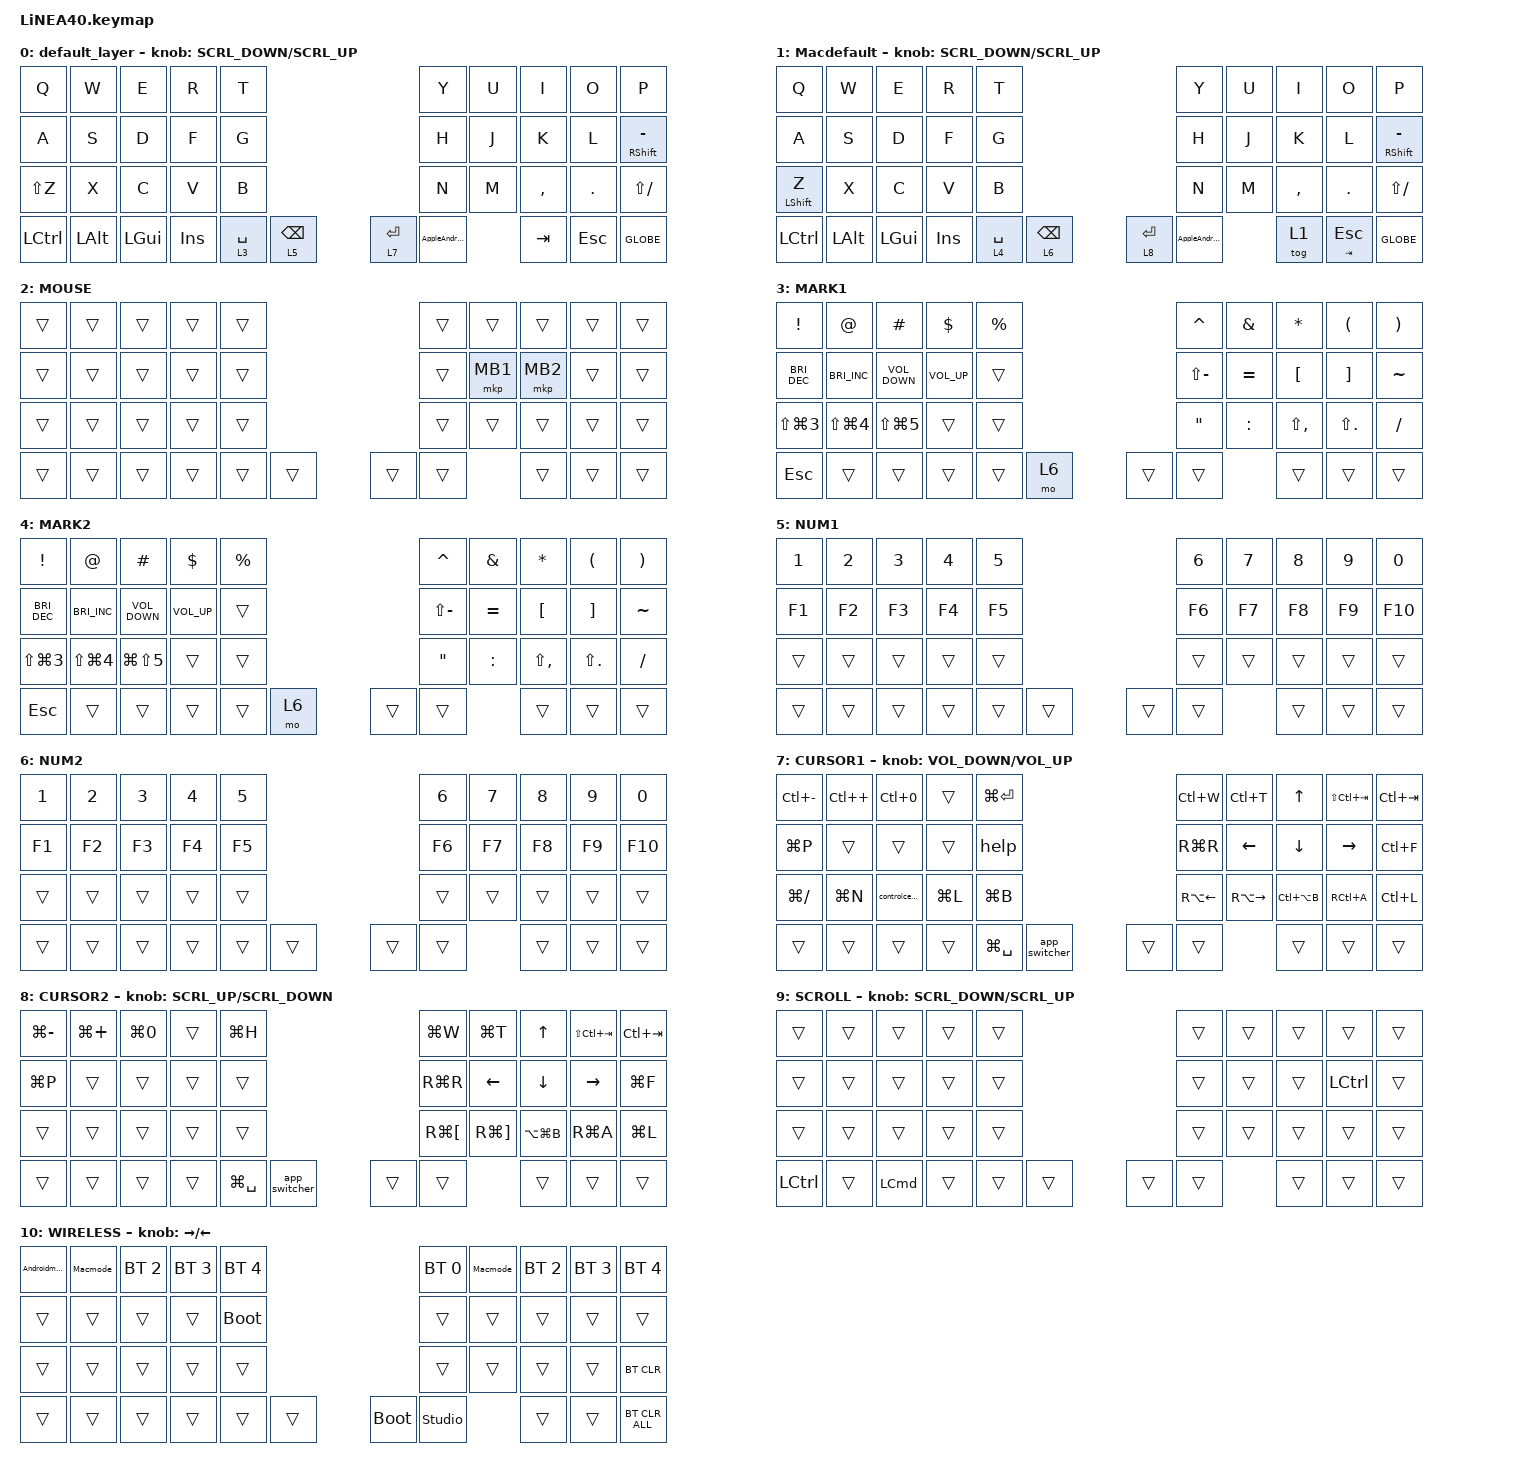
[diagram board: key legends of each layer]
#define ZMK_POINTING_DEFAULT_SCRL_VAL 150

#include <dt-bindings/zmk/input_transform.h>
#include <input/processors.dtsi>
#include <zephyr/dt-bindings/input/input-event-codes.h>
#include <input/processors/runtime-input-processor.dtsi>
#include <behaviors.dtsi>
#include <dt-bindings/zmk/bt.h>
#include <dt-bindings/zmk/keys.h>
#include <dt-bindings/zmk/pointing.h>

#define MOUSE 1
#define MARK 2
#define CURSOR 3
#define FUNCTION 4
#define SCROLL 5
#define WIRELESS 6

&mmv {
    delay-ms = <20>;
    trigger-period-ms = <5>;
    time-to-max-speed-ms = <100>;
    acceleration-exponent = <2>;
};

&msc {
    delay-ms = <3>;
    trigger-period-ms = <3>;
    time-to-max-speed-ms = <100>;
    acceleration-exponent = <0>;
};

/ {
    input_processors {
        zip_wheel_scaler: zip_wheel_scaler {
            compatible = "zmk,input-processor-scaler";
            #input-processor-cells = <2>;
            type = <INPUT_EV_REL>;
            codes = <INPUT_REL_WHEEL>;
            track-remainders;
        };
    };
};

/ {
    combos {
        compatible = "zmk,combos";

        Bt {
            bindings = <&mo 10>;
            key-positions = <34 35>;
            timeout-ms = <50>;
            require-prior-idle-ms = <150>;
        };

        scroll {
            bindings = <&mo 9>;
            key-positions = <16 17>;
            timeout-ms = <50>;
            require-prior-idle-ms = <150>;
        };
    };

    behaviors {
        re_kp: sensor_rotate_kp {
            compatible = "zmk,behavior-sensor-rotate-var";
            #sensor-binding-cells = <2>;
            bindings = <&kp>, <&kp>;
        };

        mouse_scrl: mouse_wheel_scrl {
            compatible = "zmk,behavior-sensor-rotate-var";
            #sensor-binding-cells = <2>;
            bindings = <&msc>, <&msc>;

            tap-ms = <20>;
        };
    };

    macros {
        AppleAndroidImg: AppleImg {
            compatible = "zmk,behavior-macro";
            #binding-cells = <0>;
            bindings =
                <&macro_press>,
                <&kp LEFT_CONTROL>,
                <&macro_tap>,
                <&kp SPACE>,
                <&macro_release>,
                <&kp LEFT_CONTROL>;

            label = "APPLEIMG";
        };

        Macmode: new_macro {
            compatible = "zmk,behavior-macro";
            #binding-cells = <0>;
            bindings =
                <&macro_press>,
                <&bt BT_SEL 1>,
                <&macro_wait_time 200>,
                <&tog 1>;

            label = "NEW_MACRO";
        };

        app_switcher: app_switcher {
            compatible = "zmk,behavior-macro";
            #binding-cells = <0>;
            bindings =
                <&macro_press>,
                <&kp GLOBE>,
                <&macro_tap>,
                <&kp UP_ARROW>,
                <&macro_release>,
                <&kp GLOBE>;

            label = "APP_SWITCHER";
        };

        help: help {
            compatible = "zmk,behavior-macro";
            #binding-cells = <0>;
            bindings =
                <&macro_press>,
                <&kp TAB>,
                <&macro_tap>,
                <&kp H>,
                <&macro_release>,
                <&kp TAB>;

            label = "HELP";
        };

        controlcenter: controlcenter {
            compatible = "zmk,behavior-macro";
            #binding-cells = <0>;
            bindings =
                <&macro_press>,
                <&kp GLOBE>,
                <&macro_tap>,
                <&kp C>,
                <&macro_release>,
                <&kp GLOBE>;

            label = "CONTROLCENTER";
        };
    };

    keymap {
        compatible = "zmk,keymap";

        default_layer {
            bindings = <
&kp Q      &kp W         &kp E         &kp R    &kp T                                        &kp Y             &kp U  &kp I      &kp O       &kp P
&kp A      &kp S         &kp D         &kp F    &kp G                                        &kp H             &kp J  &kp K      &kp L       &mt RIGHT_SHIFT MINUS
&kp LS(Z)  &kp X         &kp C         &kp V    &kp B                                        &kp N             &kp M  &kp COMMA  &kp DOT     &kp LS(SLASH)
&kp LCTRL  &kp LEFT_ALT  &kp LEFT_GUI  &kp INS  &lt 3 SPACE  &lt 5 BACKSPACE    &lt 7 ENTER  &AppleAndroidImg         &kp TAB    &kp ESCAPE  &kp GLOBE
            >;

            sensor-bindings = <&mouse_scrl SCRL_DOWN SCRL_UP>;
        };

        //1

        Macdefault {
            bindings = <
&kp Q             &kp W         &kp E         &kp R    &kp T                                        &kp Y             &kp U  &kp I      &kp O           &kp P
&kp A             &kp S         &kp D         &kp F    &kp G                                        &kp H             &kp J  &kp K      &kp L           &mt RIGHT_SHIFT MINUS
&mt LEFT_SHIFT Z  &kp X         &kp C         &kp V    &kp B                                        &kp N             &kp M  &kp COMMA  &kp DOT         &kp LS(SLASH)
&kp LCTRL         &kp LEFT_ALT  &kp LEFT_GUI  &kp INS  &lt 4 SPACE  &lt 6 BACKSPACE    &lt 8 ENTER  &AppleAndroidImg         &tog 1     &mt TAB ESCAPE  &kp GLOBE
            >;

            sensor-bindings = <&mouse_scrl SCRL_DOWN SCRL_UP>;
        };

        //2

        MOUSE {
            bindings = <
&trans  &trans  &trans  &trans  &trans                    &trans  &trans    &trans    &trans  &trans
&trans  &trans  &trans  &trans  &trans                    &trans  &mkp MB1  &mkp MB2  &trans  &trans
&trans  &trans  &trans  &trans  &trans                    &trans  &trans    &trans    &trans  &trans
&trans  &trans  &trans  &trans  &trans  &trans    &trans  &trans            &trans    &trans  &trans
            >;
        };

        //3

        MARK1 {
            bindings = <
&kp EXCLAMATION       &kp AT                &kp HASH           &kp DOLLAR       &kp PERCENT                   &kp CARET          &kp AMPERSAND  &kp ASTERISK      &kp LEFT_PARENTHESIS  &kp RIGHT_PARENTHESIS
&kp C_BRIGHTNESS_DEC  &kp C_BRIGHTNESS_INC  &kp C_VOLUME_DOWN  &kp C_VOLUME_UP  &trans                        &kp LS(MINUS)      &kp EQUAL      &kp LEFT_BRACKET  &kp RIGHT_BRACKET     &kp TILDE
&kp LS(LG(NUMBER_3))  &kp LS(LG(NUMBER_4))  &kp LS(LG(N5))     &trans           &trans                        &kp DOUBLE_QUOTES  &kp COLON      &kp LS(COMMA)     &kp LS(PERIOD)        &kp SLASH
&kp ESCAPE            &trans                &trans             &trans           &trans       &mo 6    &trans  &trans                            &trans            &trans                &trans
            >;
        };

        //4

        MARK2 {
            bindings = <
&kp EXCLAMATION       &kp AT                &kp HASH           &kp DOLLAR       &kp PERCENT                   &kp CARET          &kp AMPERSAND  &kp ASTERISK      &kp LEFT_PARENTHESIS  &kp RIGHT_PARENTHESIS
&kp C_BRIGHTNESS_DEC  &kp C_BRIGHTNESS_INC  &kp C_VOLUME_DOWN  &kp C_VOLUME_UP  &trans                        &kp LS(MINUS)      &kp EQUAL      &kp LEFT_BRACKET  &kp RIGHT_BRACKET     &kp TILDE
&kp LS(LG(NUMBER_3))  &kp LS(LG(NUMBER_4))  &kp LG(LS(N5))     &trans           &trans                        &kp DOUBLE_QUOTES  &kp COLON      &kp LS(COMMA)     &kp LS(PERIOD)        &kp SLASH
&kp ESCAPE            &trans                &trans             &trans           &trans       &mo 6    &trans  &trans                            &trans            &trans                &trans
            >;
        };

        //5

        NUM1 {
            bindings = <
&kp NUMBER_1  &kp NUMBER_2  &kp NUMBER_3  &kp NUMBER_4  &kp N5                    &kp NUMBER_6  &kp NUMBER_7  &kp NUMBER_8  &kp NUMBER_9  &kp N0
&kp F1        &kp F2        &kp F3        &kp F4        &kp F5                    &kp F6        &kp F7        &kp F8        &kp F9        &kp F10
&trans        &trans        &trans        &trans        &trans                    &trans        &trans        &trans        &trans        &trans
&trans        &trans        &trans        &trans        &trans  &trans    &trans  &trans                      &trans        &trans        &trans
            >;
        };

        //6

        NUM2 {
            bindings = <
&kp NUMBER_1  &kp NUMBER_2  &kp NUMBER_3  &kp NUMBER_4  &kp N5                    &kp NUMBER_6  &kp NUMBER_7  &kp NUMBER_8  &kp NUMBER_9  &kp N0
&kp F1        &kp F2        &kp F3        &kp F4        &kp F5                    &kp F6        &kp F7        &kp F8        &kp F9        &kp F10
&trans        &trans        &trans        &trans        &trans                    &trans        &trans        &trans        &trans        &trans
&trans        &trans        &trans        &trans        &trans  &trans    &trans  &trans                      &trans        &trans        &trans
            >;
        };

        //7

        CURSOR1 {
            bindings = <
&kp LC(MINUS)  &kp LC(PLUS)  &kp LC(NUMBER_0)  &trans     &kp LG(ENTER)                           &kp LC(W)           &kp LC(T)            &kp UP_ARROW    &kp LS(LC(TAB))  &kp LC(TAB)
&kp LG(P)      &trans        &trans            &trans     &help                                   &kp RG(R)           &kp LEFT_ARROW       &kp DOWN_ARROW  &kp RIGHT_ARROW  &kp LC(F)
&kp LG(SLASH)  &kp LG(N)     &controlcenter    &kp LG(L)  &kp LG(B)                               &kp RA(LEFT_ARROW)  &kp RA(RIGHT_ARROW)  &kp LC(LA(B))   &kp RC(A)        &kp LC(L)
&trans         &trans        &trans            &trans     &kp LG(SPACE)  &app_switcher    &trans  &trans                                   &trans          &trans           &trans
            >;

            sensor-bindings = <&inc_dec_kp C_VOLUME_DOWN K_VOLUME_UP>;
        };

        //8

        CURSOR2 {
            bindings = <
&kp LG(MINUS)  &kp LG(PLUS)  &kp LG(NUMBER_0)  &trans  &kp LG(H)                               &kp LG(W)             &kp LG(T)              &kp UP_ARROW    &kp LS(LC(TAB))  &kp LC(TAB)
&kp LG(P)      &trans        &trans            &trans  &trans                                  &kp RG(R)             &kp LEFT_ARROW         &kp DOWN_ARROW  &kp RIGHT_ARROW  &kp LG(F)
&trans         &trans        &trans            &trans  &trans                                  &kp RG(LEFT_BRACKET)  &kp RG(RIGHT_BRACKET)  &kp LA(LG(B))   &kp RG(A)        &kp LG(L)
&trans         &trans        &trans            &trans  &kp LG(SPACE)  &app_switcher    &trans  &trans                                       &trans          &trans           &trans
            >;

            sensor-bindings = <&mouse_scrl SCRL_UP SCRL_DOWN>;
        };

        //9

        SCROLL {
            bindings = <
&trans            &trans  &trans            &trans  &trans                    &trans  &trans  &trans  &trans            &trans
&trans            &trans  &trans            &trans  &trans                    &trans  &trans  &trans  &kp LEFT_CONTROL  &trans
&trans            &trans  &trans            &trans  &trans                    &trans  &trans  &trans  &trans            &trans
&kp LEFT_CONTROL  &trans  &kp LEFT_COMMAND  &trans  &trans  &trans    &trans  &trans          &trans  &trans            &trans
            >;

            sensor-bindings = <&mouse_scrl SCRL_DOWN SCRL_UP>;
        };

        //10

        WIRELESS {
            bindings = <
&Androidmode  &Macmode  &bt BT_SEL 2  &bt BT_SEL 3  &bt BT_SEL 4                         &bt BT_SEL 0    &Macmode  &bt BT_SEL 2  &bt BT_SEL 3  &bt BT_SEL 4
&trans        &trans    &trans        &trans        &bootloader                          &trans          &trans    &trans        &trans        &trans
&trans        &trans    &trans        &trans        &trans                               &trans          &trans    &trans        &trans        &bt BT_CLR
&trans        &trans    &trans        &trans        &trans        &trans    &bootloader  &studio_unlock            &trans        &trans        &bt BT_CLR_ALL
            >;

            sensor-bindings = <&inc_dec_kp RIGHT_ARROW LEFT_ARROW>;
        };
    };
};
